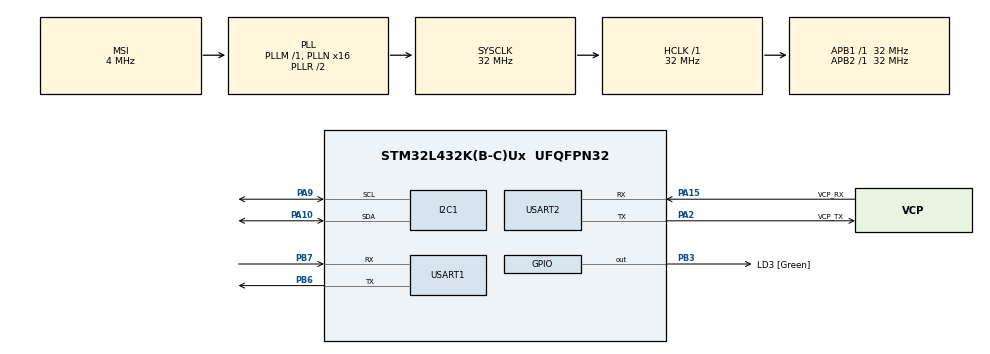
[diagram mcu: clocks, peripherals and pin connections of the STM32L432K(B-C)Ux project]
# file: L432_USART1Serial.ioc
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I2C1.Timing=0x00B07CB4
Mcu.Family=STM32L4
Mcu.Name=STM32L432K(B-C)Ux
Mcu.Package=UFQFPN32
NVIC.PriorityGroup=NVIC_PRIORITYGROUP_4
PA0.GPIO_Label=MCO [High speed clock in]
PA0.Mode=HSE-External-Clock-Source-for-LittleOrca
PA0.Signal=RCC_CK_IN
PA10.Mode=I2C
PA10.Signal=I2C1_SDA
PA13\ (JTMS-SWDIO).GPIO_Label=SWDIO
PA13\ (JTMS-SWDIO).Mode=Serial_Wire
PA13\ (JTMS-SWDIO).Signal=SYS_JTMS-SWDIO
PA14\ (JTCK-SWCLK).GPIO_Label=SWCLK
PA14\ (JTCK-SWCLK).Mode=Serial_Wire
PA14\ (JTCK-SWCLK).Signal=SYS_JTCK-SWCLK
PA15\ (JTDI).GPIO_Label=VCP_RX
PA15\ (JTDI).Mode=Asynchronous
PA15\ (JTDI).Signal=USART2_RX
PA2.GPIO_Label=VCP_TX
PA2.Mode=Asynchronous
PA2.Signal=USART2_TX
PA9.Mode=I2C
PA9.Signal=I2C1_SCL
PB3\ (JTDO-TRACESWO).GPIO_Label=LD3 [Green]
PB3\ (JTDO-TRACESWO).Signal=GPIO_Output
PB6.Mode=Asynchronous
PB6.Signal=USART1_TX
PB7.Mode=Asynchronous
PB7.Signal=USART1_RX
PC14-OSC32_IN\ (PC14).Mode=LSE-External-Oscillator
PC14-OSC32_IN\ (PC14).Signal=RCC_OSC32_IN
PC15-OSC32_OUT\ (PC15).Mode=LSE-External-Oscillator
PC15-OSC32_OUT\ (PC15).Signal=RCC_OSC32_OUT
ProjectManager.HeapSize=0x200
ProjectManager.StackSize=0x400
ProjectManager.TargetToolchain=STM32CubeIDE
RCC.AHBFreq_Value=32000000
RCC.APB1Freq_Value=32000000
RCC.APB1TimFreq_Value=32000000
RCC.APB2Freq_Value=32000000
RCC.APB2TimFreq_Value=32000000
RCC.CortexFreq_Value=32000000
RCC.HCLKFreq_Value=32000000
RCC.HSE_VALUE=8000000
RCC.HSI16_VALUE=16000000
RCC.HSI48_VALUE=48000000
RCC.HSI_VALUE=16000000
RCC.MSI_VALUE=4000000
RCC.PLLMUL=RCC_PLLMUL_4
RCC.PLLN=16
RCC.SYSCLKFreq_VALUE=32000000
RCC.SYSCLKSource=RCC_SYSCLKSOURCE_PLLCLK
RCC.VCOOutputFreq_Value=64000000
USART1.VirtualMode-Asynchronous=VM_ASYNC
USART2.VirtualMode-Asynchronous=VM_ASYNC
board=NUCLEO-L432KC

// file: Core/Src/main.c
/* USER CODE BEGIN Header */
/**
  ******************************************************************************
  * @file           : main.c
  * @brief          : Main program body
  ******************************************************************************
  * @attention
  *
  * Copyright (c) 2026 STMicroelectronics.
  * All rights reserved.
  *
  * This software is licensed under terms that can be found in the LICENSE file
  * in the root directory of this software component.
  * If no LICENSE file comes with this software, it is provided AS-IS.
  *
  ******************************************************************************
  */
/* USER CODE END Header */
#include "main.h"

/* USER CODE BEGIN Includes */
#include <stdio.h>
#include <string.h>
#include <stdarg.h>
#include <stdint.h>
/* USER CODE END Includes */

I2C_HandleTypeDef hi2c1;

UART_HandleTypeDef huart1;
UART_HandleTypeDef huart2;

/* USER CODE BEGIN PV */
char UsrString[100] = {0};
/* USER CODE END PV */

void SystemClock_Config(void);
static void MX_GPIO_Init(void);
static void MX_USART2_UART_Init(void);
static void MX_I2C1_Init(void);
static void MX_USART1_UART_Init(void);
/* USER CODE BEGIN PFP */
void PrintSerial(char *format,...);
/* USER CODE END PFP */

int main(void)
{

  /* MCU Configuration--------------------------------------------------------*/

  /* Reset of all peripherals, Initializes the Flash interface and the Systick. */
  HAL_Init();

  /* Configure the system clock */
  SystemClock_Config();

  /* Initialize all configured peripherals */
  MX_GPIO_Init();
  MX_USART2_UART_Init();
  MX_I2C1_Init();
  MX_USART1_UART_Init();

  /* Infinite loop */
  /* USER CODE BEGIN WHILE */
  while (1)
  {
	sprintf(UsrString,"Hello World!\r\n");

	PrintSerial(UsrString);

	HAL_Delay(1000);
    /* USER CODE END WHILE */

  }
}

void SystemClock_Config(void)
{
  RCC_OscInitTypeDef RCC_OscInitStruct = {0};
  RCC_ClkInitTypeDef RCC_ClkInitStruct = {0};

  /** Configure the main internal regulator output voltage
  */
  if (HAL_PWREx_ControlVoltageScaling(PWR_REGULATOR_VOLTAGE_SCALE1) != HAL_OK)
  {
    Error_Handler();
  }

  /** Configure LSE Drive Capability
  */
  HAL_PWR_EnableBkUpAccess();
  __HAL_RCC_LSEDRIVE_CONFIG(RCC_LSEDRIVE_LOW);

  /** Initializes the RCC Oscillators according to the specified parameters
  * in the RCC_OscInitTypeDef structure.
  */
  RCC_OscInitStruct.OscillatorType = RCC_OSCILLATORTYPE_LSE|RCC_OSCILLATORTYPE_MSI;
  RCC_OscInitStruct.LSEState = RCC_LSE_ON;
  RCC_OscInitStruct.MSIState = RCC_MSI_ON;
  RCC_OscInitStruct.MSICalibrationValue = 0;
  RCC_OscInitStruct.MSIClockRange = RCC_MSIRANGE_6;
  RCC_OscInitStruct.PLL.PLLState = RCC_PLL_ON;
  RCC_OscInitStruct.PLL.PLLSource = RCC_PLLSOURCE_MSI;
  RCC_OscInitStruct.PLL.PLLM = 1;
  RCC_OscInitStruct.PLL.PLLN = 16;
  RCC_OscInitStruct.PLL.PLLP = RCC_PLLP_DIV7;
  RCC_OscInitStruct.PLL.PLLQ = RCC_PLLQ_DIV2;
  RCC_OscInitStruct.PLL.PLLR = RCC_PLLR_DIV2;
  if (HAL_RCC_OscConfig(&RCC_OscInitStruct) != HAL_OK)
  {
    Error_Handler();
  }

  /** Initializes the CPU, AHB and APB buses clocks
  */
  RCC_ClkInitStruct.ClockType = RCC_CLOCKTYPE_HCLK|RCC_CLOCKTYPE_SYSCLK
                              |RCC_CLOCKTYPE_PCLK1|RCC_CLOCKTYPE_PCLK2;
  RCC_ClkInitStruct.SYSCLKSource = RCC_SYSCLKSOURCE_PLLCLK;
  RCC_ClkInitStruct.AHBCLKDivider = RCC_SYSCLK_DIV1;
  RCC_ClkInitStruct.APB1CLKDivider = RCC_HCLK_DIV1;
  RCC_ClkInitStruct.APB2CLKDivider = RCC_HCLK_DIV1;

  if (HAL_RCC_ClockConfig(&RCC_ClkInitStruct, FLASH_LATENCY_1) != HAL_OK)
  {
    Error_Handler();
  }

  /** Enable MSI Auto calibration
  */
  HAL_RCCEx_EnableMSIPLLMode();
}

static void MX_I2C1_Init(void)
{

  hi2c1.Instance = I2C1;
  hi2c1.Init.Timing = 0x00B07CB4;
  hi2c1.Init.OwnAddress1 = 0;
  hi2c1.Init.AddressingMode = I2C_ADDRESSINGMODE_7BIT;
  hi2c1.Init.DualAddressMode = I2C_DUALADDRESS_DISABLE;
  hi2c1.Init.OwnAddress2 = 0;
  hi2c1.Init.OwnAddress2Masks = I2C_OA2_NOMASK;
  hi2c1.Init.GeneralCallMode = I2C_GENERALCALL_DISABLE;
  hi2c1.Init.NoStretchMode = I2C_NOSTRETCH_DISABLE;
  if (HAL_I2C_Init(&hi2c1) != HAL_OK)
  {
    Error_Handler();
  }

  /** Configure Analogue filter
  */
  if (HAL_I2CEx_ConfigAnalogFilter(&hi2c1, I2C_ANALOGFILTER_ENABLE) != HAL_OK)
  {
    Error_Handler();
  }

  /** Configure Digital filter
  */
  if (HAL_I2CEx_ConfigDigitalFilter(&hi2c1, 0) != HAL_OK)
  {
    Error_Handler();
  }

}

static void MX_USART1_UART_Init(void)
{

  huart1.Instance = USART1;
  huart1.Init.BaudRate = 115200;
  huart1.Init.WordLength = UART_WORDLENGTH_8B;
  huart1.Init.StopBits = UART_STOPBITS_1;
  huart1.Init.Parity = UART_PARITY_NONE;
  huart1.Init.Mode = UART_MODE_TX_RX;
  huart1.Init.HwFlowCtl = UART_HWCONTROL_NONE;
  huart1.Init.OverSampling = UART_OVERSAMPLING_16;
  huart1.Init.OneBitSampling = UART_ONE_BIT_SAMPLE_DISABLE;
  huart1.AdvancedInit.AdvFeatureInit = UART_ADVFEATURE_NO_INIT;
  if (HAL_UART_Init(&huart1) != HAL_OK)
  {
    Error_Handler();
  }

}

static void MX_USART2_UART_Init(void)
{

  huart2.Instance = USART2;
  huart2.Init.BaudRate = 115200;
  huart2.Init.WordLength = UART_WORDLENGTH_8B;
  huart2.Init.StopBits = UART_STOPBITS_1;
  huart2.Init.Parity = UART_PARITY_NONE;
  huart2.Init.Mode = UART_MODE_TX_RX;
  huart2.Init.HwFlowCtl = UART_HWCONTROL_NONE;
  huart2.Init.OverSampling = UART_OVERSAMPLING_16;
  huart2.Init.OneBitSampling = UART_ONE_BIT_SAMPLE_DISABLE;
  huart2.AdvancedInit.AdvFeatureInit = UART_ADVFEATURE_NO_INIT;
  if (HAL_UART_Init(&huart2) != HAL_OK)
  {
    Error_Handler();
  }

}

static void MX_GPIO_Init(void)
{
  GPIO_InitTypeDef GPIO_InitStruct = {0};

  /* GPIO Ports Clock Enable */
  __HAL_RCC_GPIOC_CLK_ENABLE();
  __HAL_RCC_GPIOA_CLK_ENABLE();
  __HAL_RCC_GPIOB_CLK_ENABLE();

  /*Configure GPIO pin Output Level */
  HAL_GPIO_WritePin(LD3_GPIO_Port, LD3_Pin, GPIO_PIN_RESET);

  /*Configure GPIO pin : LD3_Pin */
  GPIO_InitStruct.Pin = LD3_Pin;
  GPIO_InitStruct.Mode = GPIO_MODE_OUTPUT_PP;
  GPIO_InitStruct.Pull = GPIO_NOPULL;
  GPIO_InitStruct.Speed = GPIO_SPEED_FREQ_LOW;
  HAL_GPIO_Init(LD3_GPIO_Port, &GPIO_InitStruct);

}

/* USER CODE BEGIN 4 */
void PrintSerial(char *format,...)
{

	char str[80];

	/*Extract the the argument list using VA apis */
  	va_list args;
  	va_start(args, format);
  	vsprintf(str, format,args);
  	HAL_UART_Transmit(&huart2,(uint8_t *)str, strlen(str),HAL_MAX_DELAY);
  	va_end(args);

}
/* USER CODE END 4 */

void Error_Handler(void)
{
  __disable_irq();
  while (1)
  {
  }
}
